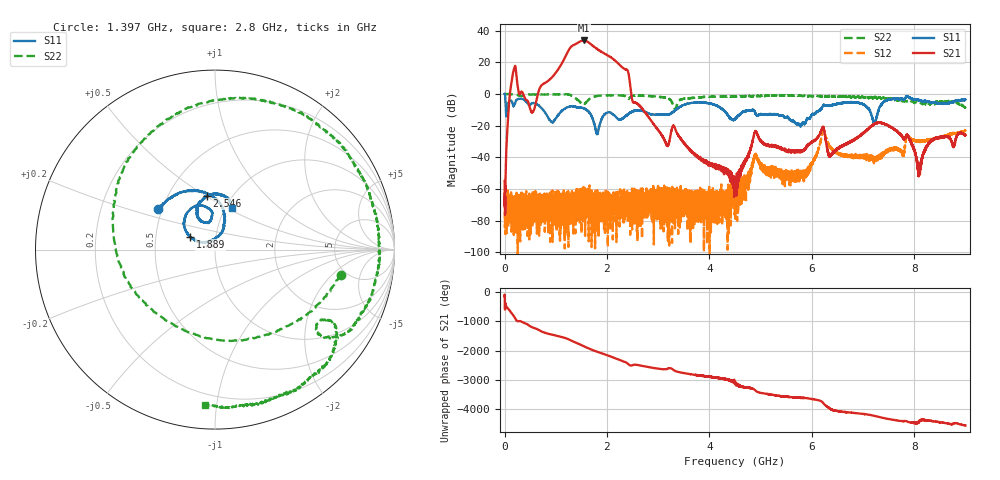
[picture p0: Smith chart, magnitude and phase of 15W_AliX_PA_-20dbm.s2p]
# Hz S DB R 50
! CMT, SC5090, 24087134, 25.3.3/4
! Date: 15.11.2025 14:39:44
! Data: Format (Calibration Info)
! Freq	S11:dB/Ang(F2)	S21:dB/Ang(F2)	S12:dB/Ang(F2)	S22:dB/Ang(F2)
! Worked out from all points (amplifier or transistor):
!   9001 points, 300 kHz to 9 GHz, reference 50 ohm
!   highest |S21| = 33.9 dB at 1.548 GHz (marker M1)
!   |S21| within 3 dB of that: 1.341 GHz to 1.708 GHz (367.5 MHz wide, 24.1 % of centre)
!   unconditionally stable (mu >= 1): 105.4 MHz to 1.127 GHz; 1.159 GHz to 1.176 GHz; 1.242 GHz to end of sweep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
!   at 1.5 GHz: K = 12.63, MAG = 35.6 dB, |S12| = -65.5 dB
!   at 4.5 GHz: K = 77009.22, MAG = -48.4 dB, |S12| = -60.7 dB
!   at 9 GHz: K = 67.45, MAG = -22.6 dB, |S12| = -23.3 dB
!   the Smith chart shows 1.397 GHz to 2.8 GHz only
!   S11 on the Smith chart (normalised r, x): 1.397 GHz: 0.48, +0.26; 1.889 GHz: 0.75, +0.11; 2.546 GHz: 0.77, +0.51; 2.8 GHz: 1.07, +0.54
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300000  -0.02 -1.1  -54.88 -139.5  -71.35 23.9  -0.06 -1.5
1.008266e9  -14.97 -83.7  13.87 -44.3  -66.54 -4.3  -0.15 91.8
1.184261e9  -9.06 -156.0  23.45 -127.6  -66.13 -130.4  -0.08 57.2
1.294257e9  -7.71 170.5  29.75 151.4  -63.91 83.6  -0.69 25.1
1.397253e9  -8.20 144.2  31.76 70.2  -65.75 -50.3  -2.93 -11.4
1.445252e9  -8.34 135.0  32.74 34.4  -72.51 -171.1  -4.08 -36.2
1.50025e9  -8.56 123.6  33.60 -9.2  -65.54 -144.3  -5.71 -78.4
1.548248e9  -8.98 112.1  33.90 -49.3  -71.42 -74.9  -6.38 -130.0
1.608246e9  -10.10 96.9  33.28 -99.1  -72.37 138.5  -4.79 169.6
1.689244e9  -13.23 77.2  31.38 -159.6  -65.45 148.7  -2.49 116.6
1.78824e9  -23.76 87.9  28.96 136.0  -69.46 25.6  -1.30 78.6
1.889237e9  -16.25 152.7  26.75 74.4  -70.80 136.1  -0.90 52.6
1.995234e9  -11.81 127.1  24.77 10.5  -83.62 -166.1  -0.84 31.0
2.11423e9  -12.69 98.9  22.37 -65.3  -62.93 133.4  -0.77 9.7
2.254225e9  -16.14 105.4  18.19 -156.3  -76.61 4.1  -0.82 -13.8
2.546215e9  -10.38 98.6  -5.44 43.7  -71.86 134.2  -1.00 -51.3
2.800207e9  -11.96 67.8  -14.00 -37.3  -64.61 179.1  -1.25 -93.6
3.0002e9  -12.74 68.2  -22.80 -92.1  -65.85 -125.3  -1.60 -126.5
4.50015e9  -15.87 -6.0  -53.78 154.2  -60.72 -125.8  -1.54 54.9
6.0001e9  -13.18 7.0  -30.45 -46.7  -42.60 -13.1  -1.22 -88.5
7.50005e9  -3.34 -111.2  -20.11 -12.1  -35.28 67.9  -2.72 92.8
9e9  -3.51 85.1  -25.76 129.1  -23.25 -170.5  -8.58 143.6
